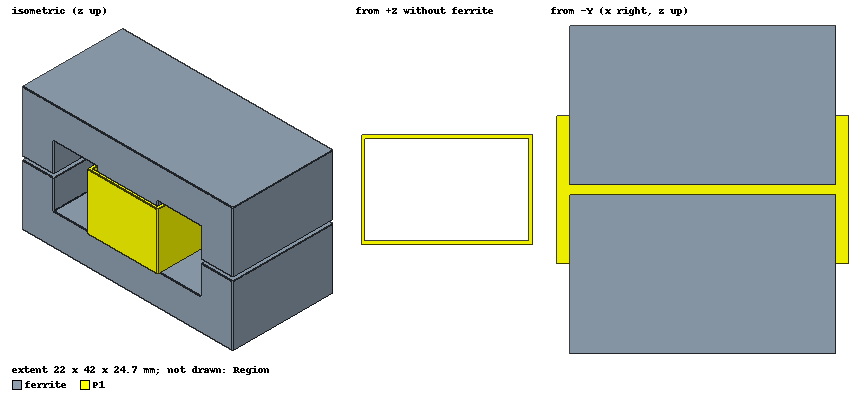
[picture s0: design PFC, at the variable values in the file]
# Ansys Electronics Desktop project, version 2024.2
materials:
  vacuum: permittivity=1
  ferrite: permittivity=12 permeability=1000 conductivity=0.01
  ferrite_Ltype: permittivity=12 permeability=750 conductivity=0.01 core_loss_type="Power Ferrite" core_loss_cm=0.003753067 core_loss_x=1.94 core_loss_y=2.775 mass_density=4600 magnetostriction{PropertyModelType=0 Dir1ModelType=0 Dir2ModelType=0 IsoCoeff=0 IsoHMax=0A_per_meter IsoHMin=0A_per_meter Dir1Coeff=0 Dir1HMax=0A_per_meter Dir1HMin=0A_per_meter Dir1VecX=1 Dir1VecY=0 Dir1VecZ=0 Dir2Coeff=0 Dir2HMax=0A_per_meter Dir2HMin=0A_per_meter CoeffMatrixSize=3 IsCoeffMatrixSymmetric CoeffMatrix{C11=0 C12=0 C13=0 C21=0 C22=0 C23=0 C31=0 C32=0 C33=0} CoeffMatrixHMax=0A_per_meter Magnetostriction{Isotropic{OneVariation{DatasetMapsName="Lambda-H curves versus Stress"}} Direction1{OneVariation{DatasetMapsName="Lambda-H curves versus Stress"}} Direction2{OneVariation{DatasetMapsName="Lambda-H curves versus Stress"}} SelectedDatasetMapsName="Lambda-H curves versus Stress"}} inverse_magnetostriction{PropertyModelType=0 Dir1ModelType=0 IsoCoeff=0 IsoSigmaMax=0megPascal IsoSigmaMin=0megPascal Dir1Coeff=0 Dir1SigmaMax=0megPascal Dir1SigmaMin=0megPascal Dir1VecX=1 Dir1VecY=0 Dir1VecZ=0 Magnetostriction{Isotropic{OneVariation{DatasetMapsName="B-H curves versus Stress"} OneVariation{DatasetMapsName="B-Sigma curves versus H"}} Direction1{OneVariation{DatasetMapsName="B-H curves versus Stress"} OneVariation{DatasetMapsName="B-Sigma curves versus H"}} SelectedDatasetMapsName="B-H curves versus Stress"}} core_loss_equiv_cut_depth=0.001meter
  copper: permeability=0.999991 conductivity=58000000
  ferrite_Ttype: permittivity=12 permeability=3000 conductivity=0.01 core_loss_type="Power Ferrite" core_loss_cm=0.00747062 core_loss_x=1.955 core_loss_y=3.07 mass_density=4600 magnetostriction{PropertyModelType=0 Dir1ModelType=0 Dir2ModelType=0 IsoCoeff=0 IsoHMax=0A_per_meter IsoHMin=0A_per_meter Dir1Coeff=0 Dir1HMax=0A_per_meter Dir1HMin=0A_per_meter Dir1VecX=1 Dir1VecY=0 Dir1VecZ=0 Dir2Coeff=0 Dir2HMax=0A_per_meter Dir2HMin=0A_per_meter CoeffMatrixSize=3 IsCoeffMatrixSymmetric CoeffMatrix{C11=0 C12=0 C13=0 C21=0 C22=0 C23=0 C31=0 C32=0 C33=0} CoeffMatrixHMax=0A_per_meter Magnetostriction{Isotropic{OneVariation{DatasetMapsName="Lambda-H curves versus Stress"}} Direction1{OneVariation{DatasetMapsName="Lambda-H curves versus Stress"}} Direction2{OneVariation{DatasetMapsName="Lambda-H curves versus Stress"}} SelectedDatasetMapsName="Lambda-H curves versus Stress"}} inverse_magnetostriction{PropertyModelType=0 Dir1ModelType=0 IsoCoeff=0 IsoSigmaMax=0megPascal IsoSigmaMin=0megPascal Dir1Coeff=0 Dir1SigmaMax=0megPascal Dir1SigmaMin=0megPascal Dir1VecX=1 Dir1VecY=0 Dir1VecZ=0 Magnetostriction{Isotropic{OneVariation{DatasetMapsName="B-H curves versus Stress"} OneVariation{DatasetMapsName="B-Sigma curves versus H"}} Direction1{OneVariation{DatasetMapsName="B-H curves versus Stress"} OneVariation{DatasetMapsName="B-Sigma curves versus H"}} SelectedDatasetMapsName="B-H curves versus Stress"}} core_loss_equiv_cut_depth=0.001meter
  aluminum_EC: permeability=1.000021 conductivity=36000000
  ferrite_DMR95: permittivity=12 permeability=3300 conductivity=0.01 core_loss_type="Power Ferrite" core_loss_cm=0.0071155 core_loss_x=1.88 core_loss_y=2.52 mass_density=4600 magnetostriction{PropertyModelType=0 Dir1ModelType=0 Dir2ModelType=0 IsoCoeff=0 IsoHMax=0A_per_meter IsoHMin=0A_per_meter Dir1Coeff=0 Dir1HMax=0A_per_meter Dir1HMin=0A_per_meter Dir1VecX=1 Dir1VecY=0 Dir1VecZ=0 Dir2Coeff=0 Dir2HMax=0A_per_meter Dir2HMin=0A_per_meter CoeffMatrixSize=3 IsCoeffMatrixSymmetric CoeffMatrix{C11=0 C12=0 C13=0 C21=0 C22=0 C23=0 C31=0 C32=0 C33=0} CoeffMatrixHMax=0A_per_meter Magnetostriction{Isotropic{OneVariation{DatasetMapsName="Lambda-H curves versus Stress"}} Direction1{OneVariation{DatasetMapsName="Lambda-H curves versus Stress"}} Direction2{OneVariation{DatasetMapsName="Lambda-H curves versus Stress"}} SelectedDatasetMapsName="Lambda-H curves versus Stress"}} inverse_magnetostriction{PropertyModelType=0 Dir1ModelType=0 IsoCoeff=0 IsoSigmaMax=0megPascal IsoSigmaMin=0megPascal Dir1Coeff=0 Dir1SigmaMax=0megPascal Dir1SigmaMin=0megPascal Dir1VecX=1 Dir1VecY=0 Dir1VecZ=0 Magnetostriction{Isotropic{OneVariation{DatasetMapsName="B-H curves versus Stress"} OneVariation{DatasetMapsName="B-Sigma curves versus H"}} Direction1{OneVariation{DatasetMapsName="B-H curves versus Stress"} OneVariation{DatasetMapsName="B-Sigma curves versus H"}} SelectedDatasetMapsName="B-H curves versus Stress"}} core_loss_equiv_cut_depth=0.001meter

design PFC (Maxwell 3D, Transient, model units mm)
options: ComputeTransientInductance
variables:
  a_outer_left = 6.25mm
  a_outer_right = 6.25mm
  a_center = 12mm
  b = 20mm
  w_left = 8.75mm
  w_right = 8.75mm
  gap1 = 0.72231442mm
  gap2 = gap1
  gap3 = gap1
  X_size = b
  Y_size = w_left+w_right+a_outer_left+a_outer_right+a_center
  Z_size = 2*(a_outer_left+c_left)
  xp1 = b+delta
  yp1 = a_center+delta
  zp1 = c_left*2-delta
  xp2 = xp1+delta
  yp2 = yp1+delta
  zp2 = zp1
  delta = 1mm
  xs2 = xs1+delta
  ys2 = ys1+delta
  zs2 = zp2
  xs1 = xp2+delta
  ys1 = yp2+delta
  zs1 = zp1
  fs = 100kHz
  H_max = c_left+a_outer_left
  c_right = 6.1mm
  c_left = 6.1mm
  xp3 = b+delta
  yp3 = a_outer_right+delta
  zp3 = c_right*2-delta
  xp4 = xp3+delta
  yp4 = yp3+delta
  xs3 = xp4+delta
  ys3 = yp4+delta
  xs4 = xs3+delta
  ys4 = ys3+delta
  lp_y = -Y_size/2+a_outer_left/2
  p_z = 5mm
  rp_y = Y_size/2-a_outer_right/2
  cp_y = -Y_size/2+a_outer_left+w_left+a_center/2
  N = 30
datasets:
  i_sum_lead: units us, A: (0, 15.21) (7.8e-07, 1.34) (2.33e-06, 2.61) (3.12e-06, -8.52) (5e-06, -6.18) (5.78e-06, 6.56) (7.33e-06, 7.83) (8.12e-06, 20.25) (1e-05, 15.21)
  i_DAB: units us, A: (0, -3.35) (6.3e-07, -0.28) (1.42e-06, -0.28) (2.06e-06, 2.88) (5e-06, 3.35) (5.63e-06, 0.28) (6.42e-06, 0.28) (7.06e-06, -2.88) (1e-05, -3.35)
  i_DAB_3kW: units us, A: (0, -11.54) (7.8e-07, 0.55) (2.33e-06, 0.55) (3.12e-06, 12.33) (5e-06, 11.54) (5.78e-06, -0.55) (7.33e-06, -0.55) (8.12e-06, -12.33) (1e-05, -11.54)
  PFC: units us, A: (0, 3.2141) (1.111e-06, 4.4531) (8.889e-06, 1.9751) (1e-05, 3.2141)
  PFC1: units us, A: (0, 1.2) (1e-06, 2) (2e-06, 2.8) (3e-06, 2.5) (4e-06, 2.2) (5e-06, 1.8) (6e-06, 1.5) (7e-06, 1.3) (8e-06, 1.2) (9e-06, 1.5) (1e-05, 2)
  PFC2: units us, A: (0, 7.5) (3e-06, 10) (7e-06, 5) (1e-05, 7.5)
  PFC3: units us, A: (0, 7.5) (3e-06, 10) (7e-06, 5) (1e-05, 7.5)
  PFC4: units us, A: (0, 7.5) (3e-06, 10) (7e-06, 5) (1e-05, 7.5)
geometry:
  ferrite [ferrite_DMR95] = box(corner=(-X_size/2, -Y_size/2, -Z_size/2), size=(X_size, Y_size, Z_size))
  Box1 = box(corner=(-b/2, Y_size/2-a_outer_right-w_right, -c_right), size=(b, w_right, 2*c_right))
  Box2 = box(corner=(-b/2, -Y_size/2+a_outer_left, -c_left), size=(b, w_left, 2*c_left))
  ferrite.subtract(Box1, Box2)
  gap1 = box(corner=(-b/2, -Y_size/2, -gap1/2), size=(b, a_outer_left, gap1))
  gap2 = box(corner=(-b/2, Y_size/2-a_outer_right, -gap2/2), size=(b, a_outer_right, gap2))
  gap3 = box(corner=(-b/2, -Y_size/2+a_outer_left+w_left, -gap3/2), size=(b, a_center, gap3))
  ferrite.subtract(gap1, gap2, gap3)
  Box3 = box(corner=(-xp1/2, -yp1/2, -zp2/2), size=(xp1, yp1, zp2))
  P1 [copper] = box(corner=(-xp2/2, -yp2/2, -zp2/2), size=(xp2, yp2, zp2))
  P1.subtract(Box3)
  P1_Section1 = P1.section(plane=YZ)
  P1_Section1.separate_bodies()
  Region [vacuum] = region(percentage_offset=150 on all sides)
  point left = (0mm, lp_y, p_z)
  point right = (0mm, rp_y, p_z)
  point center = (0mm, cp_y, p_z)
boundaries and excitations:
  P1: Coil Terminal Objects=P1_Section1 Conductor_number=N Winding=P Point_out_of_terminal=true
  P: Winding Group Type=Current IsSolid=false Current=pwl_periodic(PFC,time) ParallelBranchesNum=1
  eddy effects on: P1
  core loss on: ferrite
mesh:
  Length1: LengthBased Objects=ferrite MaxLength=4mm
  initial mesh: GlobalCurvilinear{Apply}
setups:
  Setup1: Transient NonlinearSolverResidual=0.005 ScalarPotential="Second Order" StopTime=20us TimeStep=0.1us SaveFieldsType="Every N Steps" N_Steps=1 Steps_From=0s Steps_To=30us NumberSolveSteps=1 RangeStart=0s RangeEnd=0.1s
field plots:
  Mag_B1: B over ferrite on Setup1 : Transient at Time=0ns
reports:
  Loss Plot 1: CoreLoss vs Time on Setup1 : Transient
  Winding Plot 1: InputCurrent(P), InducedVoltage(P) vs Time on Setup1 : Transient
  Winding Plot 2: L(P,P) vs Time on Setup1 : Transient; markers m1 at 0.5us
  Calculator Expressions Plot 1: Mag_B vs Time on Setup1 : Transient
  Mag_B: Mag_B vs Time on Setup1 : Transient
